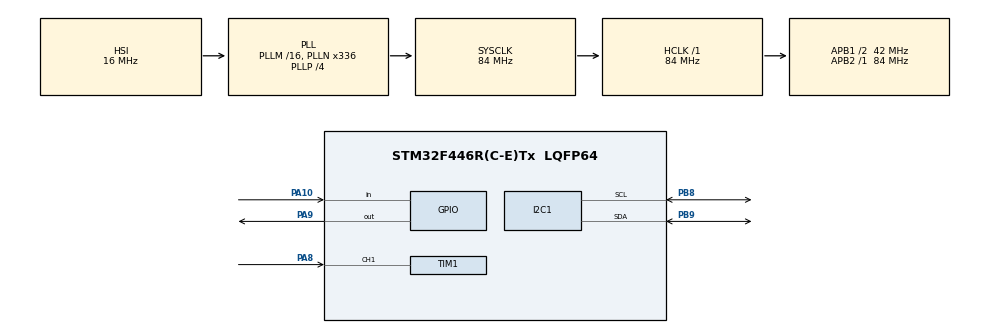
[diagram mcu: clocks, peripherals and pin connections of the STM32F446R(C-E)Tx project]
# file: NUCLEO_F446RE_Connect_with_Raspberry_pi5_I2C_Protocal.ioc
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FREERTOS.Mutexes01=I2CMutex,Dynamic,NULL
FREERTOS.Tasks01=defaultTask,0,128,StartDefaultTask,Default,NULL,Dynamic,NULL,NULL;IrReadTask,0,128,IRTask_Start,Default,NULL,Dynamic,NULL,NULL;I2CSendTask,0,128,I2CSendTask_Start,Default,NULL,Dynamic,NULL,NULL
FREERTOS.configUSE_NEWLIB_REENTRANT=1
I2C1.OwnAddress=0x10
Mcu.Family=STM32F4
Mcu.Name=STM32F446R(C-E)Tx
Mcu.Package=LQFP64
NVIC.I2C1_ER_IRQn=true\:5\:0\:false\:false\:true\:true\:true\:true\:true
NVIC.I2C1_EV_IRQn=true\:5\:0\:false\:false\:true\:true\:true\:true\:true
NVIC.PriorityGroup=NVIC_PRIORITYGROUP_4
NVIC.TIM1_CC_IRQn=true\:5\:0\:false\:false\:true\:true\:true\:true\:true
NVIC.TIM2_IRQn=true\:15\:0\:false\:false\:true\:false\:false\:true\:true
NVIC.TimeBase=TIM2_IRQn
NVIC.TimeBaseIP=TIM2
PA10.Signal=GPIO_Input
PA13.Mode=Serial_Wire
PA13.Signal=SYS_JTMS-SWDIO
PA14.Mode=Serial_Wire
PA14.Signal=SYS_JTCK-SWCLK
PA2.Signal=USART2_TX
PA3.Signal=USART2_RX
PA8.Signal=S_TIM1_CH1
PA9.Signal=GPIO_Output
PB3.Signal=SYS_JTDO-SWO
PB8.Mode=I2C
PB8.Signal=I2C1_SCL
PB9.Mode=I2C
PB9.Signal=I2C1_SDA
PC14-OSC32_IN.Mode=LSE-External-Oscillator
PC14-OSC32_IN.Signal=RCC_OSC32_IN
PC15-OSC32_OUT.Mode=LSE-External-Oscillator
PC15-OSC32_OUT.Signal=RCC_OSC32_OUT
PH0-OSC_IN.Mode=HSE-External-Oscillator
PH0-OSC_IN.Signal=RCC_OSC_IN
PH1-OSC_OUT.Mode=HSE-External-Oscillator
PH1-OSC_OUT.Signal=RCC_OSC_OUT
ProjectManager.HeapSize=0x200
ProjectManager.StackSize=0x400
ProjectManager.TargetToolchain=STM32CubeIDE
RCC.AHBFreq_Value=84000000
RCC.APB1CLKDivider=RCC_HCLK_DIV2
RCC.APB1Freq_Value=42000000
RCC.APB1TimFreq_Value=84000000
RCC.APB2Freq_Value=84000000
RCC.APB2TimFreq_Value=84000000
RCC.CortexFreq_Value=84000000
RCC.HCLKFreq_Value=84000000
RCC.PLLN=336
RCC.PLLP=RCC_PLLP_DIV4
RCC.SYSCLKFreq_VALUE=84000000
RCC.SYSCLKSource=RCC_SYSCLKSOURCE_PLLCLK
RCC.USBFreq_Value=168000000
RCC.VCOOutputFreq_Value=336000000
SH.S_TIM1_CH1.0=TIM1_CH1,Input_Capture1_from_TI1
TIM1.Channel-Input_Capture1_from_TI1=TIM_CHANNEL_1
TIM1.Prescaler=84
VP_FREERTOS_VS_CMSIS_V1.Mode=CMSIS_V1
VP_SYS_VS_tim2.Mode=TIM2
board=custom

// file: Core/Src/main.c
/* USER CODE BEGIN Header */
/**
  ******************************************************************************
  * @file           : main.c
  * @brief          : Main program body
  ******************************************************************************
  * @attention
  *
  * Copyright (c) 2024 STMicroelectronics.
  * All rights reserved.
  *
  * This software is licensed under terms that can be found in the LICENSE file
  * in the root directory of this software component.
  * If no LICENSE file comes with this software, it is provided AS-IS.
  *
  ******************************************************************************
  */
/* USER CODE END Header */
#include "main.h"
#include "cmsis_os.h"

I2C_HandleTypeDef hi2c1;

TIM_HandleTypeDef htim1;

osThreadId defaultTaskHandle;
osThreadId IrReadTaskHandle;
osThreadId I2CSendTaskHandle;
osMutexId I2CMutexHandle;
/* USER CODE BEGIN PV */
#define TXBUFSIZE 1
volatile uint8_t rx_buf;
uint8_t tx_buf=0;

HAL_StatusTypeDef sig = 0x0;
void ResetI2C(I2C_HandleTypeDef* rev_i2c)
{
	HAL_I2C_DeInit(rev_i2c);
	HAL_I2C_Init(rev_i2c);
}
/* USER CODE END PV */

void SystemClock_Config(void);
static void MX_GPIO_Init(void);
static void MX_I2C1_Init(void);
static void MX_TIM1_Init(void);
void StartDefaultTask(void const * argument);
void IRTask_Start(void const * argument);
void I2CSendTask_Start(void const * argument);

int main(void)
{

  /* MCU Configuration--------------------------------------------------------*/

  /* Reset of all peripherals, Initializes the Flash interface and the Systick. */
  HAL_Init();

  /* Configure the system clock */
  SystemClock_Config();

  /* Initialize all configured peripherals */
  MX_GPIO_Init();
  MX_I2C1_Init();
  MX_TIM1_Init();

  /* Create the mutex(es) */
  /* definition and creation of I2CMutex */
  osMutexDef(I2CMutex);
  I2CMutexHandle = osMutexCreate(osMutex(I2CMutex));

  /* Create the thread(s) */
  /* definition and creation of defaultTask */
  osThreadDef(defaultTask, StartDefaultTask, osPriorityNormal, 0, 128);
  defaultTaskHandle = osThreadCreate(osThread(defaultTask), NULL);

  /* definition and creation of IrReadTask */
  osThreadDef(IrReadTask, IRTask_Start, osPriorityNormal, 0, 128);
  IrReadTaskHandle = osThreadCreate(osThread(IrReadTask), NULL);

  /* definition and creation of I2CSendTask */
  osThreadDef(I2CSendTask, I2CSendTask_Start, osPriorityNormal, 0, 128);
  I2CSendTaskHandle = osThreadCreate(osThread(I2CSendTask), NULL);

  /* Start scheduler */
  osKernelStart();

  /* We should never get here as control is now taken by the scheduler */

  /* Infinite loop */
  while (1)
  {

  }
}

void SystemClock_Config(void)

{
  RCC_OscInitTypeDef RCC_OscInitStruct = {0};
  RCC_ClkInitTypeDef RCC_ClkInitStruct = {0};

  /** Configure the main internal regulator output voltage
  */
  __HAL_RCC_PWR_CLK_ENABLE();
  __HAL_PWR_VOLTAGESCALING_CONFIG(PWR_REGULATOR_VOLTAGE_SCALE3);

  /** Initializes the RCC Oscillators according to the specified parameters
  * in the RCC_OscInitTypeDef structure.
  */
  RCC_OscInitStruct.OscillatorType = RCC_OSCILLATORTYPE_HSI;
  RCC_OscInitStruct.HSIState = RCC_HSI_ON;
  RCC_OscInitStruct.HSICalibrationValue = RCC_HSICALIBRATION_DEFAULT;
  RCC_OscInitStruct.PLL.PLLState = RCC_PLL_ON;
  RCC_OscInitStruct.PLL.PLLSource = RCC_PLLSOURCE_HSI;
  RCC_OscInitStruct.PLL.PLLM = 16;
  RCC_OscInitStruct.PLL.PLLN = 336;
  RCC_OscInitStruct.PLL.PLLP = RCC_PLLP_DIV4;
  RCC_OscInitStruct.PLL.PLLQ = 2;
  RCC_OscInitStruct.PLL.PLLR = 2;
  if (HAL_RCC_OscConfig(&RCC_OscInitStruct) != HAL_OK)
  {
    Error_Handler();
  }

  /** Initializes the CPU, AHB and APB buses clocks
  */
  RCC_ClkInitStruct.ClockType = RCC_CLOCKTYPE_HCLK|RCC_CLOCKTYPE_SYSCLK
                              |RCC_CLOCKTYPE_PCLK1|RCC_CLOCKTYPE_PCLK2;
  RCC_ClkInitStruct.SYSCLKSource = RCC_SYSCLKSOURCE_PLLCLK;
  RCC_ClkInitStruct.AHBCLKDivider = RCC_SYSCLK_DIV1;
  RCC_ClkInitStruct.APB1CLKDivider = RCC_HCLK_DIV2;
  RCC_ClkInitStruct.APB2CLKDivider = RCC_HCLK_DIV1;

  if (HAL_RCC_ClockConfig(&RCC_ClkInitStruct, FLASH_LATENCY_2) != HAL_OK)
  {
    Error_Handler();
  }
}

static void MX_I2C1_Init(void)
{

  hi2c1.Instance = I2C1;
  hi2c1.Init.ClockSpeed = 100000;
  hi2c1.Init.DutyCycle = I2C_DUTYCYCLE_2;
  hi2c1.Init.OwnAddress1 = 32;
  hi2c1.Init.AddressingMode = I2C_ADDRESSINGMODE_7BIT;
  hi2c1.Init.DualAddressMode = I2C_DUALADDRESS_DISABLE;
  hi2c1.Init.OwnAddress2 = 0;
  hi2c1.Init.GeneralCallMode = I2C_GENERALCALL_DISABLE;
  hi2c1.Init.NoStretchMode = I2C_NOSTRETCH_DISABLE;
  if (HAL_I2C_Init(&hi2c1) != HAL_OK)
  {
    Error_Handler();
  }

}

static void MX_TIM1_Init(void)
{

  TIM_MasterConfigTypeDef sMasterConfig = {0};
  TIM_IC_InitTypeDef sConfigIC = {0};

  htim1.Instance = TIM1;
  htim1.Init.Prescaler = 84;
  htim1.Init.CounterMode = TIM_COUNTERMODE_UP;
  htim1.Init.Period = 65535;
  htim1.Init.ClockDivision = TIM_CLOCKDIVISION_DIV1;
  htim1.Init.RepetitionCounter = 0;
  htim1.Init.AutoReloadPreload = TIM_AUTORELOAD_PRELOAD_DISABLE;
  if (HAL_TIM_IC_Init(&htim1) != HAL_OK)
  {
    Error_Handler();
  }
  sMasterConfig.MasterOutputTrigger = TIM_TRGO_RESET;
  sMasterConfig.MasterSlaveMode = TIM_MASTERSLAVEMODE_DISABLE;
  if (HAL_TIMEx_MasterConfigSynchronization(&htim1, &sMasterConfig) != HAL_OK)
  {
    Error_Handler();
  }
  sConfigIC.ICPolarity = TIM_INPUTCHANNELPOLARITY_RISING;
  sConfigIC.ICSelection = TIM_ICSELECTION_DIRECTTI;
  sConfigIC.ICPrescaler = TIM_ICPSC_DIV1;
  sConfigIC.ICFilter = 0;
  if (HAL_TIM_IC_ConfigChannel(&htim1, &sConfigIC, TIM_CHANNEL_1)!= HAL_OK)
  {
    Error_Handler();
  }

}

static void MX_GPIO_Init(void)
{
  GPIO_InitTypeDef GPIO_InitStruct = {0};

  /* GPIO Ports Clock Enable */
  __HAL_RCC_GPIOC_CLK_ENABLE();
  __HAL_RCC_GPIOH_CLK_ENABLE();
  __HAL_RCC_GPIOA_CLK_ENABLE();
  __HAL_RCC_GPIOB_CLK_ENABLE();

  /*Configure GPIO pin Output Level */
  HAL_GPIO_WritePin(GPIOA, GPIO_PIN_9, GPIO_PIN_RESET);

  /*Configure GPIO pins : PA2 PA3 */
  GPIO_InitStruct.Pin = GPIO_PIN_2|GPIO_PIN_3;
  GPIO_InitStruct.Mode = GPIO_MODE_AF_PP;
  GPIO_InitStruct.Pull = GPIO_NOPULL;
  GPIO_InitStruct.Speed = GPIO_SPEED_FREQ_VERY_HIGH;
  GPIO_InitStruct.Alternate = GPIO_AF7_USART2;
  HAL_GPIO_Init(GPIOA, &GPIO_InitStruct);

  /*Configure GPIO pin : PA9 */
  GPIO_InitStruct.Pin = GPIO_PIN_9;
  GPIO_InitStruct.Mode = GPIO_MODE_OUTPUT_PP;
  GPIO_InitStruct.Pull = GPIO_NOPULL;
  GPIO_InitStruct.Speed = GPIO_SPEED_FREQ_LOW;
  HAL_GPIO_Init(GPIOA, &GPIO_InitStruct);

  /*Configure GPIO pin : PA10 */
  GPIO_InitStruct.Pin = GPIO_PIN_10;
  GPIO_InitStruct.Mode = GPIO_MODE_INPUT;
  GPIO_InitStruct.Pull = GPIO_NOPULL;
  HAL_GPIO_Init(GPIOA, &GPIO_InitStruct);

}

void StartDefaultTask(void const * argument)
{
  for(;;)
  {
    osDelay(1);
  }
}

void IRTask_Start(void const * argument)
{
  /* USER CODE BEGIN IRTask_Start */
  /* Infinite loop */
  HAL_TIM_IC_Start_IT(&htim1, TIM_CHANNEL_1);

  for(;;)
  {
	 xSemaphoreTake(I2CMutexHandle,portMAX_DELAY);
	if (HAL_GPIO_ReadPin(GPIOA, GPIO_PIN_10))
	{
		tx_buf=0;
	}
	else
	{
		tx_buf=1;
	}
	xSemaphoreGive(I2CMutexHandle);
    osDelay(20);
  }
  /* USER CODE END IRTask_Start */
}

void I2CSendTask_Start(void const * argument)
{
  /* USER CODE BEGIN I2CSendTask_Start */
  /* Infinite loop */
  for(;;)
  {
	 if ((sig = HAL_I2C_Slave_Receive(&hi2c1, (uint8_t*)&rx_buf, TXBUFSIZE, 0xFFFFFFF))!=HAL_OK)
	 {
		 ResetI2C(&hi2c1);
	 }
	 if ((sig == HAL_OK))
	 {
		 if((sig = HAL_I2C_Slave_Transmit(&hi2c1, (uint8_t*)&tx_buf,TXBUFSIZE, 0x01))!= HAL_OK)
		 {
			 ResetI2C(&hi2c1);

		 }
		 else if(rx_buf == 0x02)
		 {
			 rx_buf = 0;
			 xSemaphoreTake(I2CMutexHandle, portMAX_DELAY);
			 HAL_I2C_Slave_Transmit(&hi2c1,(uint8_t*)&tx_buf,TXBUFSIZE, 0x01);
			 xSemaphoreGive(I2CMutexHandle);
		 }
	 }
    osDelay(20);
  }
  /* USER CODE END I2CSendTask_Start */
}

void HAL_TIM_PeriodElapsedCallback(TIM_HandleTypeDef *htim)
{
  if (htim->Instance == TIM2) {
    HAL_IncTick();
  }
}

void Error_Handler(void)
{
  __disable_irq();
  while (1)
  {
  }
}
